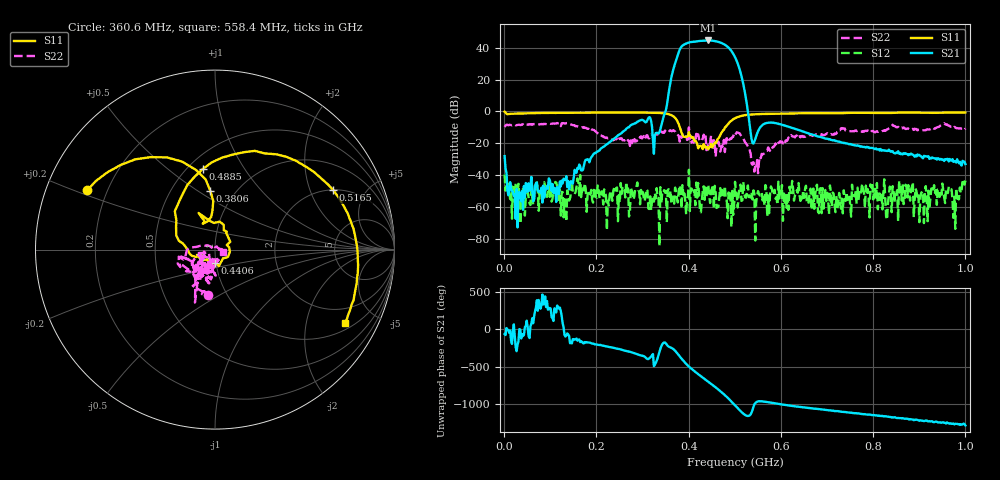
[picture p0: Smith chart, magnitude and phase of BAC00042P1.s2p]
!measured: 2026-10-27T15:07:13
!cal_instance: BBtestOct27
!cal_created: 2026-10-27T14:45
!cal_file: BBtesting.cal
!port1_delay_ps: -58.63
!port2_delay_ps: -59.31
!host: dhcp-10-250-247-203.harvard.edu
! Created with skrf 2.1.0 (http://scikit-rf.org).
# Hz S RI R 50.0
!freq ReS11 ImS11 ReS21 ImS21 ReS12 ImS12 ReS22 ImS22
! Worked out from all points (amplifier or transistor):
!   501 points, 1 MHz to 1 GHz, reference 50 ohm
!   highest |S21| = 44.5 dB at 442.6 MHz (marker M1)
!   |S21| within 3 dB of that: 387.8 MHz to 480.2 MHz (92.37 MHz wide, 21.3 % of centre)
!   unconditionally stable (mu >= 1): start of sweep to 400 MHz; 400.9 MHz to 416.4 MHz; 420.9 MHz to end of sweep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
!   at 166.8 MHz: K = 2637.37, MAG = -28.9 dB, |S12| = -53.7 dB
!   at 500.5 MHz: K = 1.07, MAG = 37.5 dB, |S12| = -44.1 dB
!   at 1 GHz: K = 426.54, MAG = -24.1 dB, |S12| = -43.4 dB
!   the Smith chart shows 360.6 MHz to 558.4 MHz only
!   S11 on the Smith chart (normalised r, x): 360.6 MHz: 0.13, +0.22; 380.6 MHz: 0.77, +0.57; 440.6 MHz: 0.98, -0.15; 488.5 MHz: 0.59, +0.67; 516.5 MHz: 2.01, +2.93; 558.4 MHz: 1.25, -3.34
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1000000  -0.3707 0.9128  0.0168 -0.036  -0.00979 0.00359  0.3214 -0.0698
1.68832e8  0.4961 -0.766  -0.0138 -0.00314  0.00334 -0.000492  -0.0332 -0.3155
3.34666e8  -0.8351 -0.3382  0.1964 0.0514  0.00193 0.00029  0.0467 -0.1995
3.6064e8  -0.7144 0.3295  -3.762 7.621  0.000317 0.00326  -0.0367 -0.2532
3.8062e8  -0.0268 0.3288  85.64 -6.015  0.00397 -0.00273  -0.0875 -0.0719
3.86614e8  -0.021 0.1825  78.24 -85.22  -0.00416 0.00256  -0.1895 -0.0385
3.94606e8  -0.0683 0.1452  -29.51 -131.1  0.000178 -0.000568  -0.134 -0.1009
4.02598e8  -0.0349 0.1642  -127.5 -75.2  0.000736 -0.000144  -0.0882 -0.109
4.1059e8  0.0487 0.1378  -150.9 28.31  0.00148 -0.00227  -0.0429 -0.0964
4.26574e8  0.073 -0.0395  -9.814 163.1  0.000684 -4.8e-05  -0.0428 -0.1095
4.4056e8  -0.0022 -0.0763  146.2 81.1  -0.00181 0.00309  0.0128 -0.0611
4.42558e8  -0.0452 -0.0457  158.3 57.21  -0.00291 -0.00411  -0.1022 -0.0252
4.52548e8  -0.0749 -0.0275  147 -74.42  0.00136 -0.00486  -0.0609 -0.0107
4.64536e8  -0.142 -0.0222  12.71 -151.1  -0.000968 -0.000302  -0.0116 -0.1133
4.76524e8  -0.2151 0.163  -109.2 -67.87  -0.000214 -0.00247  -0.0216 -0.1265
4.88512e8  -0.0682 0.4491  -73.69 57.64  0.000674 0.00216  -0.0293 -0.1265
5.005e8  0.2742 0.5364  20.82 46.05  0.00011 -0.00621  -0.1291 -0.124
5.16484e8  0.659 0.3319  7.935 -5.667  -0.000347 -0.0016  -0.1569 -0.00166
5.58442e8  0.7226 -0.4112  -0.168 0.3155  0.00199 -0.00209  0.0443 -0.0147
6.68332e8  0.0486 -0.8819  0.1722 0.0762  0.00131 -0.00022  0.0256 -0.1686
8.34166e8  -0.5956 -0.6708  -0.000588 -0.0635  -0.00205 0.00137  -0.174 -0.2371
1e9  -0.8887 -0.2612  -0.0205 0.00896  0.00575 0.00362  -0.2462 -0.1625
